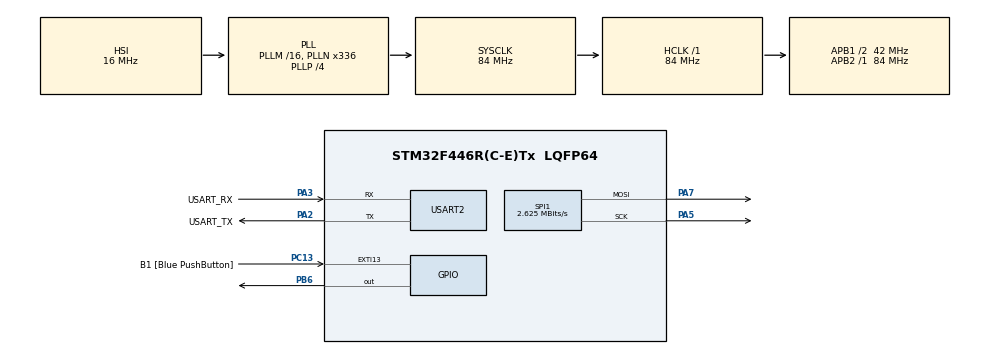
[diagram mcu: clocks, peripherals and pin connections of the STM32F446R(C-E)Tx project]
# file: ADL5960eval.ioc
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Dma.Request0=SPI1_TX
Dma.SPI1_TX.0.Direction=DMA_MEMORY_TO_PERIPH
Dma.SPI1_TX.0.FIFOMode=DMA_FIFOMODE_DISABLE
Dma.SPI1_TX.0.Instance=DMA2_Stream3
Dma.SPI1_TX.0.MemDataAlignment=DMA_MDATAALIGN_HALFWORD
Dma.SPI1_TX.0.MemInc=DMA_MINC_ENABLE
Dma.SPI1_TX.0.Mode=DMA_NORMAL
Dma.SPI1_TX.0.PeriphDataAlignment=DMA_PDATAALIGN_HALFWORD
Dma.SPI1_TX.0.PeriphInc=DMA_PINC_DISABLE
Dma.SPI1_TX.0.Priority=DMA_PRIORITY_LOW
Mcu.Family=STM32F4
Mcu.Name=STM32F446R(C-E)Tx
Mcu.Package=LQFP64
NVIC.DMA2_Stream3_IRQn=true\:0\:0\:false\:false\:true\:false\:true\:true
NVIC.PriorityGroup=NVIC_PRIORITYGROUP_0
PA13.GPIO_Label=TMS
PA13.Mode=Serial_Wire
PA13.Signal=SYS_JTMS-SWDIO
PA14.GPIO_Label=TCK
PA14.Mode=Serial_Wire
PA14.Signal=SYS_JTCK-SWCLK
PA2.GPIO_Label=USART_TX
PA2.Mode=Asynchronous
PA2.Signal=USART2_TX
PA3.GPIO_Label=USART_RX
PA3.Mode=Asynchronous
PA3.Signal=USART2_RX
PA5.Mode=TX_Only_Simplex_Unidirect_Master
PA5.Signal=SPI1_SCK
PA6.Signal=SPI1_MISO
PA7.Mode=TX_Only_Simplex_Unidirect_Master
PA7.Signal=SPI1_MOSI
PB3.GPIO_Label=SWO
PB3.Signal=SYS_JTDO-SWO
PB6.Signal=GPIO_Output
PC13.GPIO_Label=B1 [Blue PushButton]
PC13.GPIO_ModeDefaultEXTI=GPIO_MODE_IT_FALLING
PC13.Signal=GPXTI13
PC14-OSC32_IN.Mode=LSE-External-Oscillator
PC14-OSC32_IN.Signal=RCC_OSC32_IN
PC15-OSC32_OUT.Mode=LSE-External-Oscillator
PC15-OSC32_OUT.Signal=RCC_OSC32_OUT
PH0-OSC_IN.Mode=HSE-External-Oscillator
PH0-OSC_IN.Signal=RCC_OSC_IN
PH1-OSC_OUT.Mode=HSE-External-Oscillator
PH1-OSC_OUT.Signal=RCC_OSC_OUT
ProjectManager.HeapSize=0x200
ProjectManager.StackSize=0x400
ProjectManager.TargetToolchain=STM32CubeIDE
RCC.48MHZClocksFreq_Value=84000000
RCC.AHBFreq_Value=84000000
RCC.APB1CLKDivider=RCC_HCLK_DIV2
RCC.APB1Freq_Value=42000000
RCC.APB1TimFreq_Value=84000000
RCC.APB2Freq_Value=84000000
RCC.APB2TimFreq_Value=84000000
RCC.CortexFreq_Value=84000000
RCC.FLatency-AdvancedSettings=FLASH_LATENCY_2
RCC.HCLKFreq_Value=84000000
RCC.HSE_VALUE=8000000
RCC.HSI_VALUE=16000000
RCC.PLLN=336
RCC.PLLP=RCC_PLLP_DIV4
RCC.SYSCLKFreq_VALUE=84000000
RCC.SYSCLKSource=RCC_SYSCLKSOURCE_PLLCLK
RCC.USBFreq_Value=168000000
RCC.VCOOutputFreq_Value=336000000
SPI1.BaudRatePrescaler=SPI_BAUDRATEPRESCALER_32
SPI1.CalculateBaudRate=2.625 MBits/s
SPI1.DataSize=SPI_DATASIZE_16BIT
SPI1.Direction=SPI_DIRECTION_2LINES
SPI1.Mode=SPI_MODE_MASTER
SPI1.VirtualType=VM_MASTER
USART2.VirtualMode=VM_ASYNC
board=NUCLEO-F446RE

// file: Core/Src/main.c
/* USER CODE BEGIN Header */
/**
  ******************************************************************************
  * @file           : main.c
  * @brief          : Main program body
  ******************************************************************************
  * @attention
  *
  * Copyright (c) 2024 STMicroelectronics.
  * All rights reserved.
  *
  * This software is licensed under terms that can be found in the LICENSE file
  * in the root directory of this software component.
  * If no LICENSE file comes with this software, it is provided AS-IS.
  *
  ******************************************************************************
  */
/* USER CODE END Header */
#include "main.h"

SPI_HandleTypeDef hspi1;
DMA_HandleTypeDef hdma_spi1_tx;

UART_HandleTypeDef huart2;

void SystemClock_Config(void);
static void MX_GPIO_Init(void);
static void MX_DMA_Init(void);
static void MX_USART2_UART_Init(void);
static void MX_SPI1_Init(void);

/* USER CODE BEGIN 0 */
#define BUFF_SIZE   (200)
#define CHAR_CR     (0x0d)
#define TRUE        (1)
#define FALSE       (0)
#define QUEUE_SIZE  (100)		//order of moving average filter

//24bit spi sender for adl5960 control(DMA use)
void spi_write_32(uint16_t address, uint8_t writedata){
  uint32_t upperbit = address & 0x0000FFFF;
  uint16_t lowerbit = writedata;
	//uint32_t inv_writedata = ((lowerbit << 16) | upperbit) << 8;		//shift 16bit left and calc OR lower 16 bit
    uint32_t inv_writedata = (upperbit << 16) | (lowerbit<<8);
    inv_writedata = inv_writedata << 8;
	HAL_GPIO_WritePin(GPIOB, GPIO_PIN_6, GPIO_PIN_RESET);
	HAL_Delay(1);
	HAL_SPI_Transmit_DMA(&hspi1, &inv_writedata, 2);
	HAL_GPIO_WritePin(GPIOB, GPIO_PIN_6, GPIO_PIN_SET);
	HAL_Delay(1);
	//while(HAL_SPI_GetState(&hspi1) != HAL_SPI_STATE_READY);
}

void adl5960_init(void){
  spi_write_32(0x0000, 0x00);
  spi_write_32(0x0001, 0x00);
  spi_write_32(0x0002, 0x00);
  spi_write_32(0x0020, 0x11);
  spi_write_32(0x0021, 0x00);
  spi_write_32(0x0022, 0x00);
  spi_write_32(0x0023, 0x35);
  spi_write_32(0x0024, 0x35);
  spi_write_32(0x0025, 0x00);
  spi_write_32(0x0026, 0x0D);
}
/* USER CODE END 0 */

int main(void)
{

  /* MCU Configuration--------------------------------------------------------*/

  /* Reset of all peripherals, Initializes the Flash interface and the Systick. */
  HAL_Init();

  /* Configure the system clock */
  SystemClock_Config();

  /* Initialize all configured peripherals */
  MX_GPIO_Init();
  MX_DMA_Init();
  MX_USART2_UART_Init();
  MX_SPI1_Init();

  /* Infinite loop */
  while (1)
  {

    /* USER CODE BEGIN 3 */
    adl5960_init();
    HAL_Delay(1000000);
  }
  /* USER CODE END 3 */
}

void SystemClock_Config(void)
{
  RCC_OscInitTypeDef RCC_OscInitStruct = {0};
  RCC_ClkInitTypeDef RCC_ClkInitStruct = {0};

  /** Configure the main internal regulator output voltage
  */
  __HAL_RCC_PWR_CLK_ENABLE();
  __HAL_PWR_VOLTAGESCALING_CONFIG(PWR_REGULATOR_VOLTAGE_SCALE3);

  /** Initializes the RCC Oscillators according to the specified parameters
  * in the RCC_OscInitTypeDef structure.
  */
  RCC_OscInitStruct.OscillatorType = RCC_OSCILLATORTYPE_HSI;
  RCC_OscInitStruct.HSIState = RCC_HSI_ON;
  RCC_OscInitStruct.HSICalibrationValue = RCC_HSICALIBRATION_DEFAULT;
  RCC_OscInitStruct.PLL.PLLState = RCC_PLL_ON;
  RCC_OscInitStruct.PLL.PLLSource = RCC_PLLSOURCE_HSI;
  RCC_OscInitStruct.PLL.PLLM = 16;
  RCC_OscInitStruct.PLL.PLLN = 336;
  RCC_OscInitStruct.PLL.PLLP = RCC_PLLP_DIV4;
  RCC_OscInitStruct.PLL.PLLQ = 2;
  RCC_OscInitStruct.PLL.PLLR = 2;
  if (HAL_RCC_OscConfig(&RCC_OscInitStruct) != HAL_OK)
  {
    Error_Handler();
  }

  /** Initializes the CPU, AHB and APB buses clocks
  */
  RCC_ClkInitStruct.ClockType = RCC_CLOCKTYPE_HCLK|RCC_CLOCKTYPE_SYSCLK
                              |RCC_CLOCKTYPE_PCLK1|RCC_CLOCKTYPE_PCLK2;
  RCC_ClkInitStruct.SYSCLKSource = RCC_SYSCLKSOURCE_PLLCLK;
  RCC_ClkInitStruct.AHBCLKDivider = RCC_SYSCLK_DIV1;
  RCC_ClkInitStruct.APB1CLKDivider = RCC_HCLK_DIV2;
  RCC_ClkInitStruct.APB2CLKDivider = RCC_HCLK_DIV1;

  if (HAL_RCC_ClockConfig(&RCC_ClkInitStruct, FLASH_LATENCY_2) != HAL_OK)
  {
    Error_Handler();
  }
}

static void MX_SPI1_Init(void)
{

  /* SPI1 parameter configuration*/
  hspi1.Instance = SPI1;
  hspi1.Init.Mode = SPI_MODE_MASTER;
  hspi1.Init.Direction = SPI_DIRECTION_2LINES;
  hspi1.Init.DataSize = SPI_DATASIZE_16BIT;
  hspi1.Init.CLKPolarity = SPI_POLARITY_LOW;
  hspi1.Init.CLKPhase = SPI_PHASE_1EDGE;
  hspi1.Init.NSS = SPI_NSS_SOFT;
  hspi1.Init.BaudRatePrescaler = SPI_BAUDRATEPRESCALER_32;
  hspi1.Init.FirstBit = SPI_FIRSTBIT_MSB;
  hspi1.Init.TIMode = SPI_TIMODE_DISABLE;
  hspi1.Init.CRCCalculation = SPI_CRCCALCULATION_DISABLE;
  hspi1.Init.CRCPolynomial = 10;
  if (HAL_SPI_Init(&hspi1) != HAL_OK)
  {
    Error_Handler();
  }

}

static void MX_USART2_UART_Init(void)
{

  huart2.Instance = USART2;
  huart2.Init.BaudRate = 115200;
  huart2.Init.WordLength = UART_WORDLENGTH_8B;
  huart2.Init.StopBits = UART_STOPBITS_1;
  huart2.Init.Parity = UART_PARITY_NONE;
  huart2.Init.Mode = UART_MODE_TX_RX;
  huart2.Init.HwFlowCtl = UART_HWCONTROL_NONE;
  huart2.Init.OverSampling = UART_OVERSAMPLING_16;
  if (HAL_UART_Init(&huart2) != HAL_OK)
  {
    Error_Handler();
  }

}

static void MX_DMA_Init(void)
{

  /* DMA controller clock enable */
  __HAL_RCC_DMA2_CLK_ENABLE();

  /* DMA interrupt init */
  /* DMA2_Stream3_IRQn interrupt configuration */
  HAL_NVIC_SetPriority(DMA2_Stream3_IRQn, 0, 0);
  HAL_NVIC_EnableIRQ(DMA2_Stream3_IRQn);

}

static void MX_GPIO_Init(void)
{
  GPIO_InitTypeDef GPIO_InitStruct = {0};

  /* GPIO Ports Clock Enable */
  __HAL_RCC_GPIOC_CLK_ENABLE();
  __HAL_RCC_GPIOH_CLK_ENABLE();
  __HAL_RCC_GPIOA_CLK_ENABLE();
  __HAL_RCC_GPIOB_CLK_ENABLE();

  /*Configure GPIO pin Output Level */
  HAL_GPIO_WritePin(GPIOB, GPIO_PIN_6, GPIO_PIN_RESET);

  /*Configure GPIO pin : B1_Pin */
  GPIO_InitStruct.Pin = B1_Pin;
  GPIO_InitStruct.Mode = GPIO_MODE_IT_FALLING;
  GPIO_InitStruct.Pull = GPIO_NOPULL;
  HAL_GPIO_Init(B1_GPIO_Port, &GPIO_InitStruct);

  /*Configure GPIO pin : PB6 */
  GPIO_InitStruct.Pin = GPIO_PIN_6;
  GPIO_InitStruct.Mode = GPIO_MODE_OUTPUT_PP;
  GPIO_InitStruct.Pull = GPIO_NOPULL;
  GPIO_InitStruct.Speed = GPIO_SPEED_FREQ_LOW;
  HAL_GPIO_Init(GPIOB, &GPIO_InitStruct);

}

void Error_Handler(void)
{
  __disable_irq();
  while (1)
  {
  }
}
